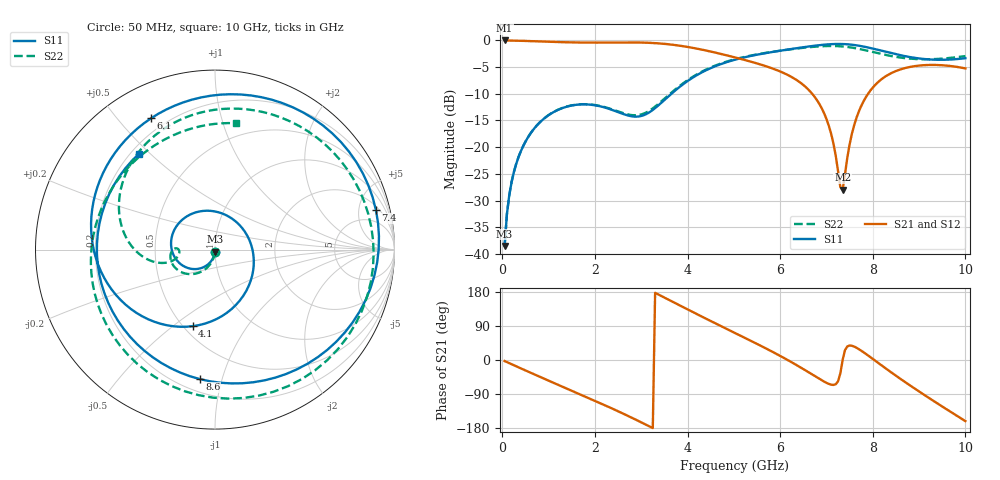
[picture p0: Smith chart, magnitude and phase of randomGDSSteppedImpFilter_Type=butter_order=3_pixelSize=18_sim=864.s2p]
! freq	dB(S11)	phase(S11)	dB(S12)	phase(S12)
!  dB(S21)	phase(S21)	dB(S22)	phase(S22)
!S-par simulation data
#  GHz  S  DB  R 50
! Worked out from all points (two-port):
!   200 points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, 50 MHz to 10 GHz, reference 50 ohm
!   highest |S21| = 0.00 dB at 50 MHz (marker M1); lowest = -28.0 dB at 7.35 GHz (marker M2)
!   |S21| within 3 dB of the highest: start of sweep to 4.945 GHz
!   lowest |S11| = -38.5 dB at 50 MHz (marker M3), VSWR 1.02, Z = 49.9 - j1.19 ohm
!   |S11| at or under -10 dB: start of sweep to 3.652 GHz
!   |S22| runs from -38.6 to -1.0 dB; largest |S21 - S12| = 0
!   S11 on the Smith chart (normalised r, x): 50 MHz: 1.00, -0.02; 4.1 GHz: 0.55, -0.59; 6.1 GHz: 0.14, +0.62; 7.4 GHz: 2.48, +7.43; 8.6 GHz: 0.28, -0.85; 10 GHz: 0.23, +0.46
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0.05  -38.50 -92.8  -0.00 -2.8  -0.00 -2.8  -38.55 -92.1
0.2  -26.58 -102.6  -0.03 -11.1  -0.03 -11.1  -26.52 -99.7
0.5  -18.97 -121.7  -0.09 -27.5  -0.09 -27.5  -18.96 -114.3
1.15  -13.23 -162.7  -0.29 -62.5  -0.29 -62.5  -13.20 -143.5
1.75  -11.98 157.0  -0.40 -94.2  -0.40 -94.2  -11.94 -166.5
2.7  -14.03 66.3  -0.37 -146.7  -0.37 -146.7  -13.83 179.7
3.4  -11.95 -34.9  -0.57 171.1  -0.57 171.1  -11.68 -164.9
4.1  -7.04 -106.4  -1.37 127.4  -1.37 127.4  -6.88 179.3
4.55  -5.00 -141.2  -2.18 99.8  -2.18 99.8  -4.88 159.4
5.05  -3.55 -175.6  -3.24 69.8  -3.24 69.8  -3.46 134.0
5.55  -2.59 151.9  -4.44 39.5  -4.44 39.5  -2.53 105.9
6.1  -1.79 116.0  -6.20 4.2  -6.20 4.2  -1.81 70.3
6.7  -1.04 73.1  -10.08 -38.8  -10.08 -38.8  -1.21 22.4
7.05  -0.72 44.8  -15.97 -63.0  -15.97 -63.0  -1.04 -11.8
7.35  -0.67 18.4  -27.98 0.6  -27.98 0.6  -1.13 -44.6
7.4  -0.69 13.8  -25.09 26.0  -25.09 26.0  -1.17 -50.3
7.55  -0.80 0.0  -17.46 37.5  -17.46 37.5  -1.35 -67.6
7.75  -1.06 -18.6  -12.29 24.7  -12.29 24.7  -1.67 -90.7
8.35  -2.28 -73.9  -6.35 -28.4  -6.35 -28.4  -2.85 -154.9
8.6  -2.78 -96.8  -5.42 -50.0  -5.42 -50.0  -3.21 -178.1
9.35  -3.62 -168.1  -4.59 -111.0  -4.59 -111.0  -3.49 123.5
10  -3.33 128.3  -5.25 -161.2  -5.25 -161.2  -2.93 80.7
